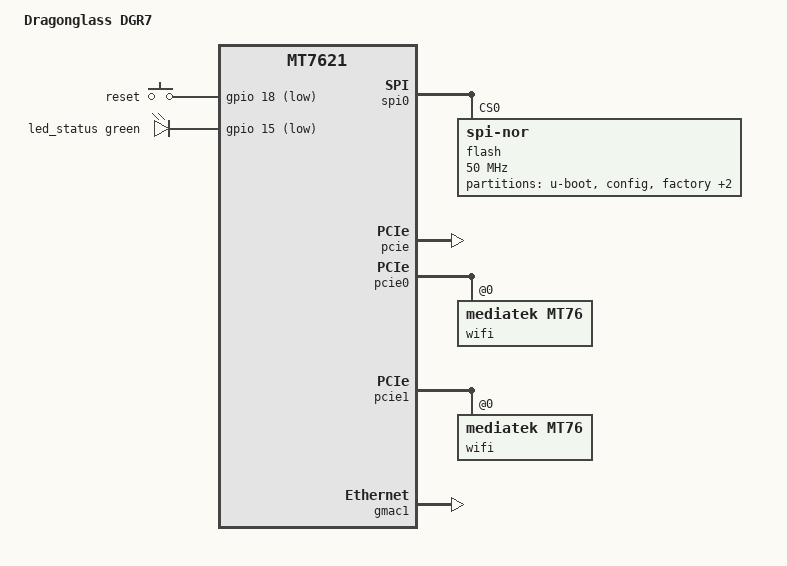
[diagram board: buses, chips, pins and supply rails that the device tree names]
// SPDX-License-Identifier: GPL-2.0-or-later OR MIT

#include "mt7621.dtsi"

#include <dt-bindings/gpio/gpio.h>
#include <dt-bindings/input/input.h>
#include <dt-bindings/leds/common.h>

/ {
	compatible = "dragonglass,dgr7", "mediatek,mt7621-soc";
	model = "Dragonglass DGR7";

	aliases {
		led-boot = &led_status;
		led-failsafe = &led_status;
		led-running = &led_status;
		led-upgrade = &led_status;
	};

	chosen {
		bootargs = "console=ttyS0,57600";
	};

	keys {
		compatible = "gpio-keys";

		reset {
			label = "reset";
			gpios = <&gpio 18 GPIO_ACTIVE_LOW>;
			linux,code = <KEY_RESTART>;
		};
	};

	leds {
		compatible = "gpio-leds";

		led_status: status {
			function = LED_FUNCTION_STATUS;
			color = <LED_COLOR_ID_GREEN>;
			gpios = <&gpio 15 GPIO_ACTIVE_LOW>;
		};
	};
};

&spi0 {
	status = "okay";

	flash@0 {
		compatible = "jedec,spi-nor";
		reg = <0>;
		spi-max-frequency = <50000000>;

		partitions {
			compatible = "fixed-partitions";
			#address-cells = <1>;
			#size-cells = <1>;

			partition@0 {
				label = "u-boot";
				reg = <0x0 0x30000>;
				read-only;
			};

			partition@30000 {
				label = "config";
				reg = <0x30000 0x10000>;
				read-only;
			};

			partition@40000 {
				label = "factory";
				reg = <0x40000 0x10000>;
				read-only;

				nvmem-layout {
					compatible = "fixed-layout";
					#address-cells = <1>;
					#size-cells = <1>;

					eeprom_factory_0: eeprom@0 {
						reg = <0x0 0x400>;
					};

					eeprom_factory_8000: eeprom@8000 {
						reg = <0x8000 0x4da8>;
					};

					macaddr_factory_e000: macaddr@e000 {
						reg = <0xe000 0x6>;
					};

					macaddr_factory_e006: macaddr@e006 {
						reg = <0xe006 0x6>;
					};
				};
			};

			partition@50000 {
				label = "permanent_config";
				reg = <0x50000 0x50000>;
				read-only;
			};

			partition@a0000 {
				label = "firmware";
				reg = <0xa0000 0x760000>;
				compatible = "denx,uimage";
			};
		};
	};
};

&pcie {
	status = "okay";
};

&pcie0 {
	wifi@0,0 {
		compatible = "mediatek,mt76";
		reg = <0x0000 0 0 0 0>;
		nvmem-cells = <&eeprom_factory_8000>;
		nvmem-cell-names = "eeprom";
	};
};

&pcie1 {
	wifi@0,0 {
		compatible = "mediatek,mt76";
		reg = <0x0000 0 0 0 0>;
		nvmem-cells = <&eeprom_factory_0>;
		nvmem-cell-names = "eeprom";
	};
};

&gmac0 {
	nvmem-cells = <&macaddr_factory_e000>;
	nvmem-cell-names = "mac-address";
};

&gmac1 {
	status = "okay";

	nvmem-cells = <&macaddr_factory_e006>;
	nvmem-cell-names = "mac-address";
};

&switch0 {
	ports {
		port@0 {
			status = "okay";
			label = "lan1";
		};

		port@1 {
			status = "okay";
			label = "lan2";
		};

		port@2 {
			status = "okay";
			label = "lan3";
		};

		port@3 {
			status = "okay";
			label = "lan4";
		};

		port@4 {
			status = "okay";
			label = "wan";
			nvmem-cells = <&macaddr_factory_e006>;
			nvmem-cell-names = "mac-address";
		};
	};
};

&state_default {
	gpio {
		groups = "i2c", "uart2", "uart3", "jtag", "wdt";
		function = "gpio";
	};
};
